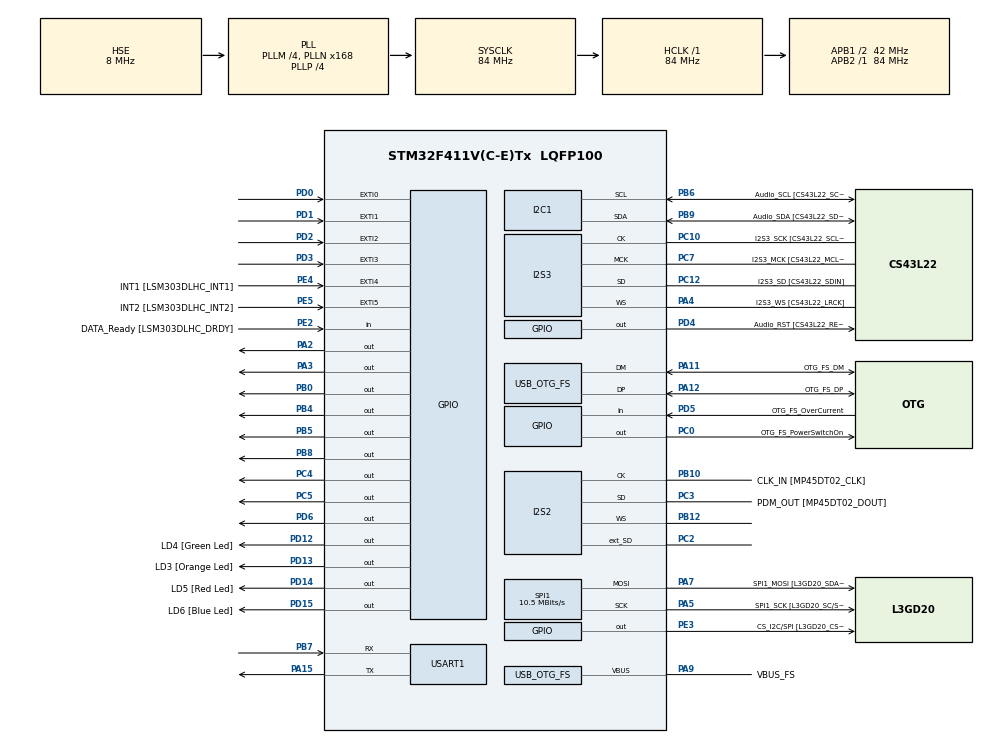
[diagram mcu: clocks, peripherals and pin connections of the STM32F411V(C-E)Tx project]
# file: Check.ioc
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I2S2.AudioFreq=I2S_AUDIOFREQ_96K
I2S2.ErrorAudioFreq=0.15 %
I2S2.FullDuplexMode=I2S_FULLDUPLEXMODE_ENABLE
I2S2.Instance=SPI$Index
I2S2.RealAudioFreq=96.153 KHz
I2S2.VirtualMode=I2S_MODE_MASTER
I2S3.AudioFreq=I2S_AUDIOFREQ_96K
I2S3.ErrorAudioFreq=-6.99 %
I2S3.FullDuplexMode=I2S_FULLDUPLEXMODE_DISABLE
I2S3.Instance=SPI$Index
I2S3.RealAudioFreq=89.285 KHz
I2S3.VirtualMode=I2S_MODE_MASTER
Mcu.Family=STM32F4
Mcu.Name=STM32F411V(C-E)Tx
Mcu.Package=LQFP100
NVIC.EXTI0_IRQn=true\:0\:0\:false\:false\:true\:true\:true\:true
NVIC.EXTI1_IRQn=true\:0\:0\:false\:false\:true\:true\:true\:true
NVIC.EXTI2_IRQn=true\:0\:0\:false\:false\:true\:true\:true\:true
NVIC.EXTI3_IRQn=true\:0\:0\:false\:false\:true\:true\:true\:true
NVIC.OTG_FS_IRQn=true\:0\:0\:false\:false\:true\:true\:true\:true
NVIC.PriorityGroup=NVIC_PRIORITYGROUP_0
PA1.Signal=SPI4_MOSI
PA10.GPIO_Label=OTG_FS_ID
PA10.Signal=USB_OTG_FS_ID
PA11.GPIO_Label=OTG_FS_DM
PA11.Mode=Device_Only
PA11.Signal=USB_OTG_FS_DM
PA12.GPIO_Label=OTG_FS_DP
PA12.Mode=Device_Only
PA12.Signal=USB_OTG_FS_DP
PA13.GPIO_Label=SWDIO
PA13.Signal=SYS_JTMS-SWDIO
PA14.GPIO_Label=SWCLK
PA14.Signal=SYS_JTCK-SWCLK
PA15.Mode=Asynchronous
PA15.Signal=USART1_TX
PA2.Signal=GPIO_Output
PA3.Signal=GPIO_Output
PA4.GPIO_Label=I2S3_WS [CS43L22_LRCK]
PA4.GPIO_Mode=GPIO_MODE_AF_PP
PA4.GPIO_PuPd=GPIO_NOPULL
PA4.GPIO_Speed=GPIO_SPEED_FREQ_LOW
PA4.Mode=Half_Duplex_Master
PA4.Signal=I2S3_WS
PA5.GPIO_Label=SPI1_SCK [L3GD20_SC/SPC]
PA5.Mode=TX_Only_Simplex_Unidirect_Master
PA5.Signal=SPI1_SCK
PA6.GPIO_Label=SPI1_MISO [L3GD20_AS0/SDO]
PA6.Signal=SPI1_MISO
PA7.GPIO_Label=SPI1_MOSI [L3GD20_SDA/SDI/SDO]
PA7.Mode=TX_Only_Simplex_Unidirect_Master
PA7.Signal=SPI1_MOSI
PA9.GPIO_Label=VBUS_FS
PA9.Mode=Activate_VBUS
PA9.Signal=USB_OTG_FS_VBUS
PB0.Signal=GPIO_Output
PB10.GPIO_Label=CLK_IN [MP45DT02_CLK]
PB10.Mode=Full_Duplex_Master
PB10.Signal=I2S2_CK
PB12.Mode=Full_Duplex_Master
PB12.Signal=I2S2_WS
PB3.GPIO_Label=SWO
PB3.Signal=SYS_JTDO-SWO
PB4.Signal=GPIO_Output
PB5.Signal=GPIO_Output
PB6.GPIO_Label=Audio_SCL [CS43L22_SCL]
PB6.GPIO_Mode=GPIO_MODE_AF_OD
PB6.GPIO_Pu=GPIO_PULLUP
PB6.GPIO_PuPd=GPIO_NOPULL
PB6.GPIO_Speed=GPIO_SPEED_FREQ_LOW
PB6.Mode=I2C
PB6.Signal=I2C1_SCL
PB7.Mode=Asynchronous
PB7.Signal=USART1_RX
PB8.Signal=GPIO_Output
PB9.GPIO_Label=Audio_SDA [CS43L22_SDA]
PB9.GPIO_Mode=GPIO_MODE_AF_OD
PB9.GPIO_Pu=GPIO_PULLUP
PB9.GPIO_PuPd=GPIO_NOPULL
PB9.GPIO_Speed=GPIO_SPEED_FREQ_LOW
PB9.Mode=I2C
PB9.Signal=I2C1_SDA
PC0.GPIO_Label=OTG_FS_PowerSwitchOn
PC0.PinState=GPIO_PIN_SET
PC0.Signal=GPIO_Output
PC10.GPIO_Label=I2S3_SCK [CS43L22_SCLK]
PC10.GPIO_Mode=GPIO_MODE_AF_PP
PC10.GPIO_PuPd=GPIO_NOPULL
PC10.GPIO_Speed=GPIO_SPEED_FREQ_LOW
PC10.Mode=Half_Duplex_Master
PC10.Signal=I2S3_CK
PC12.GPIO_Label=I2S3_SD [CS43L22_SDIN]
PC12.GPIO_Mode=GPIO_MODE_AF_PP
PC12.GPIO_PuPd=GPIO_NOPULL
PC12.GPIO_Speed=GPIO_SPEED_FREQ_LOW
PC12.Mode=Half_Duplex_Master
PC12.Signal=I2S3_SD
PC14-OSC32_IN.GPIO_Label=PC14-OSC32_IN
PC14-OSC32_IN.Mode=LSE-External-Oscillator
PC14-OSC32_IN.Signal=RCC_OSC32_IN
PC15-OSC32_OUT.GPIO_Label=PC15-OSC32_OUT
PC15-OSC32_OUT.Mode=LSE-External-Oscillator
PC15-OSC32_OUT.Signal=RCC_OSC32_OUT
PC2.Mode=Full_Duplex_Master
PC2.Signal=I2S2_ext_SD
PC3.GPIO_Label=PDM_OUT [MP45DT02_DOUT]
PC3.Mode=Full_Duplex_Master
PC3.Signal=I2S2_SD
PC4.Signal=GPIO_Output
PC5.Signal=GPIO_Output
PC7.GPIO_Label=I2S3_MCK [CS43L22_MCLK]
PC7.GPIO_Mode=GPIO_MODE_AF_PP
PC7.GPIO_PuPd=GPIO_NOPULL
PC7.GPIO_Speed=GPIO_SPEED_FREQ_LOW
PC7.Mode=Master_Clock_Activated
PC7.Signal=I2S3_MCK
PD0.GPIO_PuPd=GPIO_PULLUP
PD0.Signal=GPXTI0
PD1.GPIO_PuPd=GPIO_PULLUP
PD1.Signal=GPXTI1
PD12.GPIO_Label=LD4 [Green Led]
PD12.GPIO_PuPd=GPIO_NOPULL
PD12.GPIO_Speed=GPIO_SPEED_FREQ_LOW
PD12.Signal=GPIO_Output
PD13.GPIO_Label=LD3 [Orange Led]
PD13.GPIO_PuPd=GPIO_NOPULL
PD13.GPIO_Speed=GPIO_SPEED_FREQ_LOW
PD13.Signal=GPIO_Output
PD14.GPIO_Label=LD5 [Red Led]
PD14.GPIO_PuPd=GPIO_NOPULL
PD14.GPIO_Speed=GPIO_SPEED_FREQ_LOW
PD14.Signal=GPIO_Output
PD15.GPIO_Label=LD6 [Blue Led]
PD15.GPIO_PuPd=GPIO_NOPULL
PD15.GPIO_Speed=GPIO_SPEED_FREQ_LOW
PD15.Signal=GPIO_Output
PD2.GPIO_PuPd=GPIO_PULLUP
PD2.Signal=GPXTI2
PD3.GPIO_PuPd=GPIO_PULLUP
PD3.Signal=GPXTI3
PD4.GPIO_Label=Audio_RST [CS43L22_RESET]
PD4.Signal=GPIO_Output
PD5.GPIO_Label=OTG_FS_OverCurrent
PD5.Signal=GPIO_Input
PD6.Signal=GPIO_Output
PE2.GPIO_Label=DATA_Ready [LSM303DLHC_DRDY]
PE2.Signal=GPIO_Input
PE3.GPIO_Label=CS_I2C/SPI [L3GD20_CS_I2C/SPI]
PE3.Signal=GPIO_Output
PE4.GPIO_Label=INT1 [LSM303DLHC_INT1]
PE4.GPIO_ModeDefaultEXTI=GPIO_MODE_EVT_RISING
PE4.Signal=GPXTI4
PE5.GPIO_Label=INT2 [LSM303DLHC_INT2]
PE5.GPIO_ModeDefaultEXTI=GPIO_MODE_EVT_RISING
PE5.Signal=GPXTI5
PH0\ -\ OSC_IN.GPIO_Label=PH0-OSC_IN
PH0\ -\ OSC_IN.Mode=HSE-External-Oscillator
PH0\ -\ OSC_IN.Signal=RCC_OSC_IN
PH1\ -\ OSC_OUT.GPIO_Label=PH1-OSC_OUT
PH1\ -\ OSC_OUT.Mode=HSE-External-Oscillator
PH1\ -\ OSC_OUT.Signal=RCC_OSC_OUT
ProjectManager.HeapSize=0x200
ProjectManager.StackSize=0x400
ProjectManager.TargetToolchain=STM32CubeIDE
RCC.48MHZClocksFreq_Value=48000000
RCC.AHBFreq_Value=84000000
RCC.APB1CLKDivider=RCC_HCLK_DIV2
RCC.APB1Freq_Value=42000000
RCC.APB1TimFreq_Value=84000000
RCC.APB2Freq_Value=84000000
RCC.APB2TimFreq_Value=84000000
RCC.CortexFreq_Value=84000000
RCC.HCLKFreq_Value=84000000
RCC.HSE_VALUE=8000000
RCC.HSI_VALUE=16000000
RCC.PLLI2SM=5
RCC.PLLI2SN=200
RCC.PLLM=4
RCC.PLLN=168
RCC.PLLP=RCC_PLLP_DIV4
RCC.PLLQ=7
RCC.SYSCLKFreq_VALUE=84000000
RCC.SYSCLKSource=RCC_SYSCLKSOURCE_PLLCLK
RCC.VCOOutputFreq_Value=336000000
SPI1.BaudRatePrescaler=SPI_BAUDRATEPRESCALER_8
SPI1.CalculateBaudRate=10.5 MBits/s
SPI1.Direction=SPI_DIRECTION_2LINES
SPI1.Mode=SPI_MODE_MASTER
SPI1.VirtualType=VM_MASTER
USART1.VirtualMode=VM_ASYNC
USB_DEVICE.CLASS_NAME_FS=HID
USB_DEVICE.VirtualMode=Hid
USB_DEVICE.VirtualModeFS=Hid_FS
USB_OTG_FS.VirtualMode=Device_Only
VP_USB_DEVICE_VS_USB_DEVICE_HID_FS.Mode=HID_FS
board=STM32F411E-DISCO

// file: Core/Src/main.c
/* USER CODE BEGIN Header */
/**
  ******************************************************************************
  * @file           : main.c
  * @brief          : Main program body
  ******************************************************************************
  * @attention
  *
  * Copyright (c) 2023 STMicroelectronics.
  * All rights reserved.
  *
  * This software is licensed under terms that can be found in the LICENSE file
  * in the root directory of this software component.
  * If no LICENSE file comes with this software, it is provided AS-IS.
  *
  ******************************************************************************
  */
/* USER CODE END Header */
#include "main.h"
#include "i2c.h"
#include "i2s.h"
#include "spi.h"
#include "usart.h"
#include "usb_device.h"
#include "gpio.h"

/* USER CODE BEGIN Includes */
#include "lcd5110.h"
#include <stdio.h>
#include <string.h>

/* USER CODE END Includes */

/* USER CODE BEGIN PTD */
#define ROW_1_Pin GPIO_PIN_4
#define ROW_2_Pin GPIO_PIN_5
#define ROW_3_Pin GPIO_PIN_6
#define ROW_4_Pin GPIO_PIN_8
#define COL_1_Pin GPIO_PIN_0
#define COL_2_Pin GPIO_PIN_1
#define COL_3_Pin GPIO_PIN_2
#define COL_4_Pin GPIO_PIN_3
/* USER CODE END PTD */

/* USER CODE BEGIN PV */
GPIO_TypeDef* ROW_1_Port = GPIOB;
GPIO_TypeDef* ROW_2_Port = GPIOB;
GPIO_TypeDef* ROW_3_Port = GPIOD;
GPIO_TypeDef* ROW_4_Port = GPIOB;
GPIO_TypeDef* COL_1_Port = GPIOD;
GPIO_TypeDef* COL_2_Port = GPIOD;
GPIO_TypeDef* COL_3_Port = GPIOD;
GPIO_TypeDef* COL_4_Port = GPIOD;
/* USER CODE END PV */

void SystemClock_Config(void);
void PeriphCommonClock_Config(void);

/* USER CODE BEGIN 0 */
LCD5110_display lcd1;
void keypad_init(void)
{
  // Configure GPIO pins for keypad matrix
  GPIO_InitTypeDef GPIO_InitStruct = {0};
  GPIO_InitStruct.Pin = ROW_1_Pin | ROW_2_Pin | ROW_3_Pin | ROW_4_Pin;
  GPIO_InitStruct.Mode = GPIO_MODE_INPUT;
  GPIO_InitStruct.Pull = GPIO_PULLUP;
  HAL_GPIO_Init(ROW_1_Port, &GPIO_InitStruct);
  HAL_GPIO_Init(ROW_2_Port, &GPIO_InitStruct);
  HAL_GPIO_Init(ROW_3_Port, &GPIO_InitStruct);
  HAL_GPIO_Init(ROW_4_Port, &GPIO_InitStruct);

  GPIO_InitStruct.Pin = COL_1_Pin | COL_2_Pin | COL_3_Pin | COL_4_Pin;
  GPIO_InitStruct.Mode = GPIO_MODE_OUTPUT_PP;
  GPIO_InitStruct.Speed = GPIO_SPEED_FREQ_LOW;
  HAL_GPIO_Init(COL_1_Port, &GPIO_InitStruct);
  HAL_GPIO_Init(COL_2_Port, &GPIO_InitStruct);
  HAL_GPIO_Init(COL_3_Port, &GPIO_InitStruct);
  HAL_GPIO_Init(COL_4_Port, &GPIO_InitStruct);
}

char keypad_scan(void)
{
  char keys[4][4] = {{'1', '2', '3', 'A'},
                     {'4', '5', '6', 'B'},
                     {'7', '8', '9', 'C'},
                     {'*', '0', '#', 'D'}};

  for(int i = 0; i < 4; i++)
  {
    // Set current column as output and low
    switch(i)
    {
      case 0:
        HAL_GPIO_WritePin(COL_1_Port, COL_1_Pin, GPIO_PIN_RESET);
        HAL_GPIO_WritePin(COL_2_Port, COL_2_Pin, GPIO_PIN_SET);
        HAL_GPIO_WritePin(COL_3_Port, COL_3_Pin, GPIO_PIN_SET);
        HAL_GPIO_WritePin(COL_4_Port, COL_4_Pin, GPIO_PIN_SET);
        break;

      case 1:
        HAL_GPIO_WritePin(COL_1_Port, COL_1_Pin, GPIO_PIN_SET);
        HAL_GPIO_WritePin(COL_2_Port, COL_2_Pin, GPIO_PIN_RESET);
    HAL_GPIO_WritePin(COL_3_Port, COL_3_Pin, GPIO_PIN_SET);
    HAL_GPIO_WritePin(COL_4_Port, COL_4_Pin, GPIO_PIN_SET);
    break;

  case 2:
    HAL_GPIO_WritePin(COL_1_Port, COL_1_Pin, GPIO_PIN_SET);
    HAL_GPIO_WritePin(COL_2_Port, COL_2_Pin, GPIO_PIN_SET);
    HAL_GPIO_WritePin(COL_3_Port, COL_3_Pin, GPIO_PIN_RESET);
    HAL_GPIO_WritePin(COL_4_Port, COL_4_Pin, GPIO_PIN_SET);
    break;

  case 3:
    HAL_GPIO_WritePin(COL_1_Port, COL_1_Pin, GPIO_PIN_SET);
    HAL_GPIO_WritePin(COL_2_Port, COL_2_Pin, GPIO_PIN_SET);
    HAL_GPIO_WritePin(COL_3_Port, COL_3_Pin, GPIO_PIN_SET);
    HAL_GPIO_WritePin(COL_4_Port, COL_4_Pin, GPIO_PIN_RESET);
    break;
}
// Read current rows
if(HAL_GPIO_ReadPin(ROW_1_Port, ROW_1_Pin) == GPIO_PIN_RESET)
  return keys[0][i];
if(HAL_GPIO_ReadPin(ROW_2_Port, ROW_2_Pin) == GPIO_PIN_RESET)
  return keys[1][i];
if(HAL_GPIO_ReadPin(ROW_3_Port, ROW_3_Pin) == GPIO_PIN_RESET)
  return keys[2][i];
if(HAL_GPIO_ReadPin(ROW_4_Port, ROW_4_Pin) == GPIO_PIN_RESET)
  return keys[3][i];
}
return 0; // No key pressed
}

/* USER CODE END 0 */

int main(void)
{

  /* MCU Configuration--------------------------------------------------------*/

  /* Reset of all peripherals, Initializes the Flash interface and the Systick. */
  HAL_Init();

  /* Configure the system clock */
  SystemClock_Config();

/* Configure the peripherals common clocks */
  PeriphCommonClock_Config();

  /* Initialize all configured peripherals */
  MX_GPIO_Init();
  MX_I2C1_Init();
  MX_I2S2_Init();
  MX_I2S3_Init();
  MX_SPI1_Init();
  MX_USB_DEVICE_Init();
  MX_USART1_UART_Init();
  /* USER CODE BEGIN 2 */

  	lcd1.hw_conf.spi_handle = &hspi1;
    lcd1.hw_conf.spi_cs_pin =  GPIO_PIN_2;
    lcd1.hw_conf.spi_cs_port = GPIOA;
    lcd1.hw_conf.rst_pin =  GPIO_PIN_0;
    lcd1.hw_conf.rst_port = GPIOC;
    lcd1.hw_conf.dc_pin =  GPIO_PIN_3;
    lcd1.hw_conf.dc_port = GPIOA;
    lcd1.def_scr = lcd5110_def_scr;
    LCD5110_init(&lcd1.hw_conf, LCD5110_NORMAL_MODE, 0x40, 2, 3);

	char ATcommand[100];
	char res[10];
		sprintf(ATcommand,"AT\r\n");
		HAL_UART_Transmit(&huart1,(uint8_t *)ATcommand,strlen(ATcommand),100);
		HAL_UART_Receive (&huart1, (uint8_t *)res, 10, 10);

		if(strstr((char *)res,"OK"))
		{
			HAL_GPIO_WritePin(GPIOD, GPIO_PIN_12, GPIO_PIN_SET);   // green
		}
		else{
		HAL_GPIO_WritePin(GPIOD, GPIO_PIN_14, GPIO_PIN_SET);    // red

		}

    char buf[10] = {0};
    int pos = 0;

    char key_pressed = 0;

    rect_t rect={0,0, 83, 10};

    const unsigned char call_image[] = {
    	0xbf, 0x0f, 0x07, 0x03, 0x03, 0x01, 0x00, 0x01, 0x03, 0x1f, 0xff, 0xff, 0xff, 0xff, 0xff, 0xbd,
    	0x18, 0x18, 0x39, 0x39, 0x31, 0x73, 0xe3, 0xc7, 0x87, 0x0f, 0x1f, 0x7f, 0xff, 0xff, 0xff, 0xfc,
    	0xe0, 0x80, 0x00, 0x00, 0x00, 0x00, 0x00, 0x38, 0x7e, 0xff, 0xff, 0xff, 0xff, 0xf3, 0xf3, 0xe3,
    	0x87, 0x8e, 0xfe, 0xf8, 0xc0, 0x81, 0xcf, 0xff, 0xfc, 0xc0, 0x81, 0xcf, 0xff, 0xff, 0xff, 0xff,
    	0xff, 0xfc, 0xf8, 0xf0, 0xe0, 0xc0, 0x80, 0x01, 0x03, 0x07, 0x07, 0x0f, 0x1f, 0x1f, 0x1f, 0x0f,
    	0x0f, 0x07, 0x0f, 0x0f, 0x0f, 0x1f, 0x1f, 0x1f, 0x3f, 0x7f, 0x3f, 0x3f, 0x3f, 0x3f, 0x3f, 0x3f,
    	0x3f, 0x3f, 0x3f, 0x3f, 0x3f, 0x3f, 0x3e, 0x3e, 0x3c, 0x38, 0x38, 0x30, 0x30, 0x30, 0x20, 0x20,
    	0x20, 0x00, 0x20, 0x20, 0x30, 0x38, 0x3e, 0x3f
    };

    const unsigned char main_screen_image[] = {
    		0x0f, 0x03, 0xf1, 0xf8, 0xf9, 0x33, 0x07, 0xcf, 0xff, 0xff, 0xff, 0xe6, 0xe4, 0xcc, 0x19, 0x39,
    		0xe3, 0x87, 0x1f, 0xfe, 0xf8, 0xf1, 0xc7, 0x8f, 0x3c, 0x38, 0x73, 0xe7, 0xcf, 0xcf, 0xcf, 0xcf,
    		0xe7, 0xe7, 0xcf, 0x1f, 0x3f, 0x7f, 0x07, 0x07, 0x07, 0x07, 0x07, 0x07, 0x07, 0x06, 0x04, 0x04,
    		0x01, 0x01, 0x01, 0x01, 0x01, 0x04, 0x04, 0x06, 0x07
    };

    const unsigned char main_screen_snake[] = {
		0x01, 0xf8, 0xfc, 0xfe, 0xfe, 0x8e, 0x06, 0x66, 0x76, 0x76, 0x76, 0x7e, 0x76, 0xfe, 0xfe, 0xfe,
		0xfc, 0xf8, 0x01, 0x00, 0xff, 0xff, 0x8f, 0x07, 0x77, 0x77, 0x77, 0x77, 0x77, 0x77, 0x77, 0x72,
		0x78, 0x3f, 0x9f, 0xff, 0xff, 0x60, 0x04, 0x00, 0x01, 0x03, 0x03, 0x03, 0x03, 0x03, 0x03, 0x03,
		0x03, 0x03, 0x03, 0x03, 0x03, 0x03, 0x01, 0x00, 0x04
    };

    const unsigned char main_message[] = {
    		0x01, 0xfc, 0xfe, 0xfe, 0x66, 0x66, 0x66, 0x66, 0x66, 0x66, 0x66, 0x66, 0x66, 0x66, 0x66, 0xfe,
    		0xfe, 0xfc, 0x01, 0xe0, 0xcf, 0xdf, 0x1b, 0xfb, 0xfb, 0x7b, 0x3b, 0x9b, 0xdb, 0xdb, 0xdb, 0xdb,
    		0xdb, 0xdb, 0xdb, 0xdf, 0xcf, 0xe0, 0x07, 0x07, 0x07, 0x00, 0x04, 0x06, 0x07, 0x07, 0x07, 0x07,
    		0x07, 0x07, 0x07, 0x07, 0x07, 0x07, 0x07, 0x07, 0x07
    };

    const unsigned char write_message[] = {
    		0xff, 0xff, 0x7f, 0x3f, 0xbf, 0xbf, 0xbf, 0xbf, 0xbf, 0xbf, 0x3f, 0x3f, 0x9f, 0xcf, 0x67, 0x83,
    		0xc7, 0xef, 0xff, 0xff, 0xff, 0xe0, 0xc0, 0xdf, 0x9f, 0xbf, 0x3f, 0x13, 0x10, 0xd0, 0xd9, 0xdd,
    		0xc0, 0xff, 0xff, 0xff, 0xff, 0xff, 0x07, 0x07, 0x07, 0x07, 0x07, 0x07, 0x07, 0x07, 0x06, 0x07,
    		0x07, 0x07, 0x07, 0x07, 0x07, 0x07, 0x07, 0x07, 0x07
    };

    const char MESSAGE_MODE[] = "AT+CMGF=1\r\n";

    const char MSG_NUMBER_INIT[] = "AT+CMGS=\"+38";

    const char CALL_NUMBER[] = "ATD+38";

    const char END_CALL[] = "AT+CHUP\r\n";

    char* letters_for_keys[] = {
            "ABC",
            "DEF",
            "GHI",
            "JKL",
            "MNO",
            "PQR",
            "STU",
            "VWX",
            "YZ"
        };

    int letters[] = {0,0,0,0,0,0,0,0,0};

    bool is_call;

    char message[32] = {0};
    int message_pos = 0;

    keypad_init();

    void init_screen() {
		LCD5110_clear_scr(&lcd1);
		LCD5110_refresh(&lcd1);
		LCD5110_rect(&rect, 1, &lcd1);
		LCD5110_rect_fill(&rect, 1, &lcd1);
		LCD5110_set_cursor(10, 15, &lcd1);

		LCD5110_print("A-call", 0, &lcd1);

		LCD5110_set_cursor(10, 35, &lcd1);

		LCD5110_print("B-back", 0, &lcd1);
		LCD5110_set_cursor(0, 0, &lcd1);
		is_call = false;
    }

    void call_screen() {
    	LCD5110_clear_scr(&lcd1);
    	LCD5110_refresh(&lcd1);
    	//LCD5110_drawBitmap(25, 1, call_image, 30, 30, 0, &lcd1.hw_conf);
    	char phone_info[26];
    	LCD5110_set_cursor(18, 1, &lcd1);
    	strcpy(phone_info, "Calling\n");
    	LCD5110_print(phone_info, BLACK, &lcd1);
    	LCD5110_set_cursor(10, 20, &lcd1);
    	LCD5110_print(buf, WHITE, &lcd1);
    	LCD5110_set_cursor(10, 40, &lcd1);
    	LCD5110_print("A-end call", 0, &lcd1);
    	is_call = true;
    }

    typedef enum {
      PHONE,
      MESSAGEE,
      SNAKE
    } Screen;

    void main_screen(Screen type_screen) {
    	LCD5110_clear_scr(&lcd1);
		LCD5110_refresh(&lcd1);
		LCD5110_drawBitmap(8, 3, main_screen_image, 19, 19, 0, &lcd1.hw_conf);

		rect_t rectbox_phone={6, 1, 23, 23};
		rect_t rectbox_snake={49,1, 23, 23};
		rect_t rectbox_message={6,23, 23, 23};
		rect_t rectbox_message_history = {48, 23, 23, 23};
		if (type_screen==0) {
			LCD5110_rect(&rectbox_phone, 1, &lcd1);
		}
		else if (type_screen==1) {
			LCD5110_rect(&rectbox_snake, 1, &lcd1);
		}
		else if (type_screen == 2) {
			LCD5110_rect(&rectbox_message, 1, &lcd1);
		} else {
			LCD5110_rect(&rectbox_message_history, 1, &lcd1);
		}
		LCD5110_refresh(&lcd1);
		LCD5110_set_cursor(50, 10, &lcd1);
		LCD5110_drawBitmap(50, 3, main_screen_snake, 19, 19, 0, &lcd1.hw_conf);
		LCD5110_refresh(&lcd1);
		LCD5110_set_cursor(8, 28, &lcd1);
		LCD5110_drawBitmap(8, 25, write_message, 19, 19, 0, &lcd1.hw_conf);
		LCD5110_set_cursor(50, 28, &lcd1);
		LCD5110_drawBitmap(50, 25, main_message, 19, 19, 0, &lcd1.hw_conf);
    }

    bool is_message;

    void screen_for_message_sending() {
    	LCD5110_clear_scr(&lcd1);
		LCD5110_refresh(&lcd1);
		LCD5110_rect(&rect, 1, &lcd1);
		LCD5110_rect_fill(&rect, 1, &lcd1);
		LCD5110_set_cursor(10, 15, &lcd1);

		LCD5110_print("A-go to message", 0, &lcd1);

		LCD5110_set_cursor(10, 35, &lcd1);

		LCD5110_print("B-back", 0, &lcd1);
		LCD5110_set_cursor(0, 0, &lcd1);
		is_message = false;
    }

    void type_message_scren() {
        	LCD5110_clear_scr(&lcd1);
        	LCD5110_refresh(&lcd1);
        	rect_t rectbox_phone={1, 1, 60, 30};
        	LCD5110_set_cursor(5, 40, &lcd1);
        	LCD5110_print("A-send", 0, &lcd1);
        	is_message = true;
        }

    bool cursor_on_phone = true;
    bool screen_main = false;
    bool cursor_on_message = false;
    bool screen_message = false;
    bool type_message_screen = false;
    bool screen_begin = true;
    bool want_to_send_digits = true;

    main_screen(cursor_on_phone - 1);

  /* USER CODE END 2 */

  /* Infinite loop */
  /* USER CODE BEGIN WHILE */
	while (1)
	{
	    key_pressed = keypad_scan();

	    if(key_pressed != 0)
	    {
	    	if (type_message_screen) {
	    		if (!want_to_send_digits) {
					if (key_pressed >= '0' && key_pressed <= '9') {
						int num = key_pressed - '0';
						letters[num - 1]++;
					}
					if (key_pressed == 'C') {
						int maxindex = 0;
						for (int i = 0; i < 9; i++) {
								if (letters[i] > letters[maxindex]) {
									maxindex = i;
								}
							}
							char *message_t = letters_for_keys[maxindex];
							message[message_pos] = message_t[letters[maxindex] - 1];
							message_pos++;
							message[message_pos] = '\0';
							LCD5110_set_cursor(0, 0, &lcd1);
							LCD5110_print(message, 0, &lcd1);
							LCD5110_refresh(&lcd1);
							memset(letters, 0, sizeof(letters));
						}
					if (key_pressed == 'A') {
						strcat(message, "\r\n\x1A");
						HAL_UART_Transmit(&huart1,(uint8_t *)message,strlen(message),100);
						HAL_Delay(5000);
						HAL_UART_Receive (&huart1, (uint8_t *)res, 10, 10);
						LCD5110_refresh(&lcd1);
						HAL_Delay(5000);
						message[0] = '\0';
						message_pos = 0;
						LCD5110_refresh(&lcd1);
						type_message_screen = false;
						screen_begin = true;
						want_to_send_digits = true;
						buf[0] = '\0';
						message[0] = '\0';
						message_pos = 0;
						pos = 0;
						main_screen(cursor_on_phone - 1);
					}
	    		}
	    		else {
	    			if (key_pressed == 'C') { // changing mode to letters
						want_to_send_digits = false;
					}

					else if (key_pressed >= '0' && key_pressed <= '9' && message_pos < sizeof(message))
						{
							message[message_pos] = key_pressed;
							message_pos++;
							message[message_pos] = '\0';

							LCD5110_set_cursor(0, 0, &lcd1);
							LCD5110_print(message, 0, &lcd1);
						}
						if (key_pressed == 'A') {

							strcat(message, "\r\n\x1A");

							HAL_UART_Transmit(&huart1,(uint8_t *)message,strlen(message),100);
							HAL_Delay(5000);
							HAL_UART_Receive (&huart1, (uint8_t *)res, 10, 10);
							LCD5110_refresh(&lcd1);
							HAL_Delay(5000);
							message[0] = '\0';
							message_pos = 0;
							LCD5110_refresh(&lcd1);
							type_message_screen = false;
							screen_begin = true;
							buf[0] = '\0';
							pos = 0;
							main_screen(cursor_on_phone - 1);
						}
	    			}
	    		}
	    	else if (screen_message) {
	    		if (key_pressed == 'B') {
	    			screen_message = false;
	    			type_message_screen = false;
	    			screen_begin = true;
	    			memset(buf, ' ', sizeof(buf) - 1);
					buf[0] = '\0';
					pos = 0;
					main_screen(cursor_on_phone - 1);
	    		}
	    		if (key_pressed >= '0' && key_pressed <= '9' && pos < sizeof(buf))
					{
						buf[pos] = key_pressed;
						pos++;
						buf[pos] = '\0';

						LCD5110_set_cursor(0, 0, &lcd1);
						LCD5110_print(buf, 0, &lcd1);
					}
	    		if (key_pressed == 'A') {
					  HAL_UART_Transmit(&huart1,(uint8_t *)MESSAGE_MODE,strlen(MESSAGE_MODE),100);
					  HAL_UART_Receive (&huart1, (uint8_t *)res, 10, 10);
					  if(strstr((char *)res,"OK")){
						  HAL_GPIO_WritePin(GPIOD, GPIO_PIN_12, GPIO_PIN_SET);   // green
					  }
					  else{
						HAL_GPIO_WritePin(GPIOD, GPIO_PIN_14, GPIO_PIN_SET);
					  }

					  char current_number[25];
					  strcpy(current_number, MSG_NUMBER_INIT);
					  strcat(current_number, buf);
					  strcat(current_number, "\"\r\n");
					  HAL_UART_Transmit(&huart1,(uint8_t *)current_number,strlen(current_number),100);
					  HAL_UART_Receive (&huart1, (uint8_t *)res, 10, 10);

	    			screen_message = false;
	    			type_message_screen = true;
	    			type_message_scren();
	    			}
	    		else if (key_pressed == 'D')
					{
						memset(buf, ' ', sizeof(buf) - 1);
						buf[0] = '\0';
						pos = 0;
						LCD5110_refresh(&lcd1);
						LCD5110_rect_fill(&rect, 1, &lcd1);
						LCD5110_set_cursor(0, 0, &lcd1);
					}
	    		else if (key_pressed == 'C' && pos > 0)
					{
						pos--;
						buf[pos] = '\0';

						LCD5110_refresh(&lcd1);
						LCD5110_rect_fill(&rect, 1, &lcd1);
						LCD5110_set_cursor(0, 0, &lcd1);
						LCD5110_print(buf, 0, &lcd1);
					}
	    	}
	    	else if (screen_begin) {
	    		if (key_pressed == '1' || key_pressed == '2' || key_pressed == '3' || key_pressed == '4') {
	    			int num = key_pressed - '0';
	    			if (num == 3) {
	    				cursor_on_message = true;
	    				cursor_on_phone = false;
	    			} else if (num == 1) {
	    				cursor_on_message = false;
	    				cursor_on_phone = true;
	    			}
	    			main_screen(num - 1);
	    		}
				if (key_pressed == '*' && cursor_on_phone) {
						screen_main = true;
						screen_begin = false;
						init_screen();
					}
				if (key_pressed == '*' && cursor_on_message) {
					screen_message = true;
					screen_begin = false;
					screen_for_message_sending();
				}
	    	}
	    	else if (screen_main){

	    		if (key_pressed == 'B') {
						screen_main = false;
						screen_begin = true;
						memset(buf, ' ', sizeof(buf) - 1);
						buf[0] = '\0';
						pos = 0;
						main_screen(cursor_on_phone - 1);
				}
				if (key_pressed == 'A' && screen_main) {
					if (is_call) {
						buf[0] = '\0';
						pos = 0;
						HAL_UART_Transmit(&huart1,(uint8_t *)END_CALL,strlen(END_CALL),100);
						LCD5110_refresh(&lcd1);
						LCD5110_rect_fill(&rect, 1, &lcd1);
						LCD5110_set_cursor(0, 0, &lcd1);
						screen_begin = true;
						main_screen(0);
					}
					else {
						char call_number[16];
						strcpy(call_number, CALL_NUMBER);
						strcat(call_number, buf);
						strcat(call_number, "\r\n");
						HAL_UART_Transmit(&huart1,(uint8_t *)call_number,strlen(call_number),100);
						call_screen();
					}
				}
				else if (key_pressed == 'D' && screen_main)
				{
					memset(buf, ' ', sizeof(buf) - 1);
					buf[0] = '\0';
					pos = 0;
					LCD5110_refresh(&lcd1);
					LCD5110_rect_fill(&rect, 1, &lcd1);
					LCD5110_set_cursor(0, 0, &lcd1);
				}
				else if (key_pressed == 'C' && pos > 0 && screen_main)
					{
						pos--;
						buf[pos] = '\0';

						LCD5110_refresh(&lcd1);
						LCD5110_rect_fill(&rect, 1, &lcd1);
						LCD5110_set_cursor(0, 0, &lcd1);
						LCD5110_print(buf, 0, &lcd1);
					}
				else if (key_pressed >= '0' && key_pressed <= '9' && pos < sizeof(buf) && screen_main)
				{
					buf[pos] = key_pressed;
					pos++;
					buf[pos] = '\0';

					LCD5110_set_cursor(0, 0, &lcd1);
					LCD5110_print(buf, 0, &lcd1);
				}
	    	}

	    }
	    LCD5110_refresh(&lcd1);
	    HAL_Delay(1000);
	    LCD5110_refresh(&lcd1);
    /* USER CODE END WHILE */

  }
}

void SystemClock_Config(void)
{
  RCC_OscInitTypeDef RCC_OscInitStruct = {0};
  RCC_ClkInitTypeDef RCC_ClkInitStruct = {0};

  /** Configure the main internal regulator output voltage
  */
  __HAL_RCC_PWR_CLK_ENABLE();
  __HAL_PWR_VOLTAGESCALING_CONFIG(PWR_REGULATOR_VOLTAGE_SCALE1);

  /** Initializes the RCC Oscillators according to the specified parameters
  * in the RCC_OscInitTypeDef structure.
  */
  RCC_OscInitStruct.OscillatorType = RCC_OSCILLATORTYPE_HSE;
  RCC_OscInitStruct.HSEState = RCC_HSE_ON;
  RCC_OscInitStruct.PLL.PLLState = RCC_PLL_ON;
  RCC_OscInitStruct.PLL.PLLSource = RCC_PLLSOURCE_HSE;
  RCC_OscInitStruct.PLL.PLLM = 4;
  RCC_OscInitStruct.PLL.PLLN = 168;
  RCC_OscInitStruct.PLL.PLLP = RCC_PLLP_DIV4;
  RCC_OscInitStruct.PLL.PLLQ = 7;
  if (HAL_RCC_OscConfig(&RCC_OscInitStruct) != HAL_OK)
  {
    Error_Handler();
  }

  /** Initializes the CPU, AHB and APB buses clocks
  */
  RCC_ClkInitStruct.ClockType = RCC_CLOCKTYPE_HCLK|RCC_CLOCKTYPE_SYSCLK
                              |RCC_CLOCKTYPE_PCLK1|RCC_CLOCKTYPE_PCLK2;
  RCC_ClkInitStruct.SYSCLKSource = RCC_SYSCLKSOURCE_PLLCLK;
  RCC_ClkInitStruct.AHBCLKDivider = RCC_SYSCLK_DIV1;
  RCC_ClkInitStruct.APB1CLKDivider = RCC_HCLK_DIV2;
  RCC_ClkInitStruct.APB2CLKDivider = RCC_HCLK_DIV1;

  if (HAL_RCC_ClockConfig(&RCC_ClkInitStruct, FLASH_LATENCY_2) != HAL_OK)
  {
    Error_Handler();
  }
}

void PeriphCommonClock_Config(void)
{
  RCC_PeriphCLKInitTypeDef PeriphClkInitStruct = {0};

  /** Initializes the peripherals clock
  */
  PeriphClkInitStruct.PeriphClockSelection = RCC_PERIPHCLK_I2S;
  PeriphClkInitStruct.PLLI2S.PLLI2SN = 200;
  PeriphClkInitStruct.PLLI2S.PLLI2SM = 5;
  PeriphClkInitStruct.PLLI2S.PLLI2SR = 2;
  if (HAL_RCCEx_PeriphCLKConfig(&PeriphClkInitStruct) != HAL_OK)
  {
    Error_Handler();
  }
}

/* USER CODE BEGIN 4 */

/* USER CODE BEGIN 4 */

/* USER CODE END 4 */

void Error_Handler(void)
{
  __disable_irq();
  while (1)
  {
  }
}
